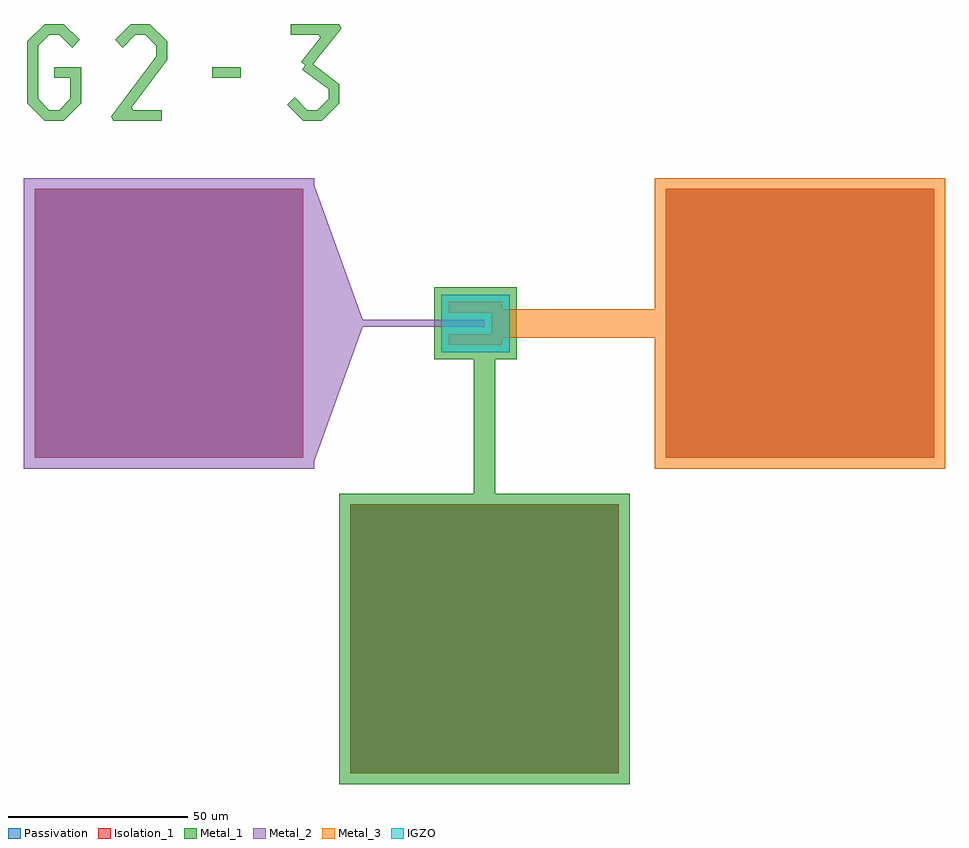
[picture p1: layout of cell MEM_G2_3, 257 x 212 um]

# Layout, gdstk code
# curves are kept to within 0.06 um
import gdstk
lib = gdstk.Library(unit=1e-6, precision=1e-09)
def R(c, l, rs):  # rectangles x0, y0, x1, y1
    for r in rs: c.add(gdstk.rectangle(r[:2], r[2:], *l))
def P(c, l, *ps):  # polygons
    for p in ps: c.add(gdstk.Polygon(p, *l))
Metal_1 = (1, 0)
Isolation_1 = (2, 0)
Metal_2 = (3, 0)
IGZO = (4, 0)
Metal_3 = (5, 0)
Passivation = (6, 0)

mem_g2_3 = lib.new_cell('MEM_G2_3')
R(mem_g2_3, Metal_1, [(87.5,-0.5,168.5,80.5), (52,196.5,60,199.5)])
P(mem_g2_3, Metal_1, [(5.378,184.5),(0.5,189.378),(0.5,206.622),(5.378,211.5),(10.622,211.5),(15.061,207.061),(12.939,204.939),(9.378,208.5),(6.622,208.5),(3.5,205.378),(3.5,190.622),(6.622,187.5),(9.378,187.5),(12.5,190.622),(12.5,196.5),(8,196.5),(8,199.5),(15.5,199.5),(15.5,189.378),(10.622,184.5)],
  [(77.378,184.5),(72.939,188.939),(75.061,191.061),(78.622,187.5),(81.378,187.5),(84.5,190.622),(84.5,193.25),(77.1,198.8),(77.999,200),(76.83,200.937),(82.204,207.656),(81.798,208.5),(74,208.5),(74,211.5),(87.5,211.5),(88.108,210.234),(80.158,200.297),(87.5,194.75),(87.5,189.378),(82.622,184.5)],
  [(24.499,184.5),(23.9,185.7),(36.5,202.5),(36.5,205.378),(33.378,208.5),(30.622,208.5),(27.061,204.939),(24.939,207.061),(29.378,211.5),(34.622,211.5),(39.5,206.622),(39.5,201.5),(29.6,188.3),(30,187.5),(38,187.5),(38,184.5)],
  [(88,0),(88,80),(125,80),(125,118),(114,118),(114,138),(137,138),(137,118),(131,118),(131,80),(168,80),(168,0)])
R(mem_g2_3, Isolation_1, [(90.5,2.5,165.5,77.5), (2.5,90.5,77.5,165.5), (178.5,90.5,253.5,165.5)])
R(mem_g2_3, Metal_2, [(-0.5,87.5,80.5,168.5), (0,88,80,168)])
P(mem_g2_3, Metal_2, [(80,88),(80,168),(94,129),(128,129),(128,127),(94,127)])
R(mem_g2_3, IGZO, [(116,120,135,136)])
R(mem_g2_3, Metal_3, [(175.5,87.5,256.5,168.5)])
P(mem_g2_3, Metal_3, [(176,88),(176,124),(133,124),(133,122),(118,122),(118,125),(130,125),(130,131),(118,131),(118,134),(133,134),(133,132),(176,132),(176,168),(256,168),(256,88)])
R(mem_g2_3, Passivation, [(90.5,2.5,165.5,77.5), (2.5,90.5,77.5,165.5), (178.5,90.5,253.5,165.5)])

lib.write_gds('MEM_G2_3.gds')
